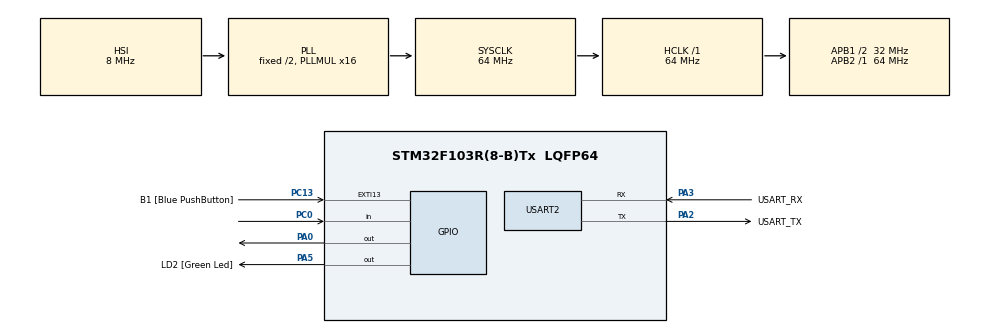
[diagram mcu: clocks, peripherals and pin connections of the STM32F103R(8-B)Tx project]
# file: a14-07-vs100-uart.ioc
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Mcu.Family=STM32F1
Mcu.Name=STM32F103R(8-B)Tx
Mcu.Package=LQFP64
NVIC.EXTI15_10_IRQn=true\:0\:0\:false\:false\:true\:true\:true
NVIC.PriorityGroup=NVIC_PRIORITYGROUP_4
NVIC.TIM2_IRQn=true\:0\:0\:false\:false\:true\:true\:true
PA0-WKUP.Signal=GPIO_Output
PA13.GPIO_Label=TMS
PA13.Mode=Serial_Wire
PA13.Signal=SYS_JTMS-SWDIO
PA14.GPIO_Label=TCK
PA14.Mode=Serial_Wire
PA14.Signal=SYS_JTCK-SWCLK
PA2.GPIO_Label=USART_TX
PA2.GPIO_Mode=GPIO_MODE_AF_PP
PA2.GPIO_PuPd=GPIO_NOPULL
PA2.GPIO_Speed=GPIO_SPEED_FREQ_LOW
PA2.Mode=Asynchronous
PA2.Signal=USART2_TX
PA3.GPIO_Label=USART_RX
PA3.GPIO_Mode=GPIO_MODE_AF_PP
PA3.GPIO_PuPd=GPIO_NOPULL
PA3.GPIO_Speed=GPIO_SPEED_FREQ_LOW
PA3.Mode=Asynchronous
PA3.Signal=USART2_RX
PA5.GPIO_Label=LD2 [Green Led]
PA5.GPIO_ModeDefaultOutputPP=GPIO_MODE_OUTPUT_PP
PA5.GPIO_PuPd=GPIO_NOPULL
PA5.GPIO_Speed=GPIO_SPEED_FREQ_LOW
PA5.Signal=GPIO_Output
PB3.GPIO_Label=SWO
PB3.Signal=SYS_JTDO-TRACESWO
PC0.Signal=GPIO_Input
PC13-TAMPER-RTC.GPIO_Label=B1 [Blue PushButton]
PC13-TAMPER-RTC.GPIO_PuPd=GPIO_NOPULL
PC13-TAMPER-RTC.Signal=GPXTI13
PC14-OSC32_IN.Mode=LSE-External-Oscillator
PC14-OSC32_IN.Signal=RCC_OSC32_IN
PC15-OSC32_OUT.Mode=LSE-External-Oscillator
PC15-OSC32_OUT.Signal=RCC_OSC32_OUT
PD0-OSC_IN.Mode=HSE-External-Clock-Source
PD0-OSC_IN.Signal=RCC_OSC_IN
PD1-OSC_OUT.Mode=HSE-External-Clock-Source
PD1-OSC_OUT.Signal=RCC_OSC_OUT
ProjectManager.HeapSize=0x200
ProjectManager.StackSize=0x400
ProjectManager.TargetToolchain=STM32CubeIDE
RCC.AHBFreq_Value=64000000
RCC.APB1CLKDivider=RCC_HCLK_DIV2
RCC.APB1Freq_Value=32000000
RCC.APB1TimFreq_Value=64000000
RCC.APB2Freq_Value=64000000
RCC.APB2TimFreq_Value=64000000
RCC.HCLKFreq_Value=64000000
RCC.PLLMUL=RCC_PLL_MUL16
RCC.RTCClockSelection=RCC_RTCCLKSOURCE_LSE
RCC.SYSCLKFreq_VALUE=64000000
RCC.SYSCLKSource=RCC_SYSCLKSOURCE_PLLCLK
RCC.USBFreq_Value=64000000
TIM2.Period=26-1
TIM2.Prescaler=64-1
USART2.VirtualMode=VM_ASYNC
VP_TIM2_VS_ClockSourceINT.Mode=Internal
board=NUCLEO-F103RB

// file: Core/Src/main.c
/* USER CODE BEGIN Header */
/**
  ******************************************************************************
  * @file           : main.c
  * @brief          : Main program body
  ******************************************************************************
  * @attention
  *
  * <h2><center>&copy; Copyright (c) 2022 STMicroelectronics.
  * All rights reserved.</center></h2>
  *
  * This software component is licensed by ST under BSD 3-Clause license,
  * the "License"; You may not use this file except in compliance with the
  * License. You may obtain a copy of the License at:
  *                        opensource.org/licenses/BSD-3-Clause
  *
  ******************************************************************************
  */
/* USER CODE END Header */
#include "main.h"

/* USER CODE BEGIN Includes */
#include "stdio.h"

/* USER CODE END Includes */

/* USER CODE BEGIN PD */
#ifdef __GNUC__
  /* With GCC/RAISONANCE, small printf (option LD Linker->Libraries->Small printf
     set to 'Yes') calls __io_putchar() */
  #define PUTCHAR_PROTOTYPE int __io_putchar(int ch)
#else
  #define PUTCHAR_PROTOTYPE int fputc(int ch, FILE *f)
#endif /* __GNUC__ */

//----- uart rx mode ------------------------------------------------------------------------------
typedef struct ts_rxType{
	char start;
	unsigned char data;
	char parity;
	char stop;
} rxType;
//----- uart rx mode ------------------------------------------------------------------------------

/* USER CODE END PD */

TIM_HandleTypeDef htim2;

UART_HandleTypeDef huart2;

/* USER CODE BEGIN PV */
//----- uart timer2 -------------------------------------------------------------------------------
int tim2_base_cnt;
//----- uart timer2 -------------------------------------------------------------------------------

uint8_t urx[16], utx[16];
uint16_t Distance;
uint16_t Temperature;

//----- uart tx mode ------------------------------------------------------------------------------
char Uart_Tx_Parity_Mode;
int txBit_cnt;
char Uart_Tx_flag;
char Uart_Tx_trigger;
char UartTxData[32];
//----- uart tx mode ------------------------------------------------------------------------------

//----- uart rx mode ------------------------------------------------------------------------------
char Uart_Rx_Parity_Mode;
rxType UartRxData[32];
int rxByte_cnt;
int rxBit_cnt;
int rxBit_value;
int rxSamp_cnt;
int rxParity_bit;
char Uart_Rx_flag;
char Uart_Rx_active;
char Uart_Rx_Temp;
char Uart_Rx_trigger;
char Uart_Rx_data;
char Uart_Rx_parity;
char Uart_Rx_stop;
//----- uart rx mode ------------------------------------------------------------------------------

/* USER CODE END PV */

void SystemClock_Config(void);
static void MX_GPIO_Init(void);
static void MX_USART2_UART_Init(void);
static void MX_TIM2_Init(void);

/* USER CODE BEGIN 0 */

PUTCHAR_PROTOTYPE
{
  /* Place your implementation of fputc here */
  /* e.g. write a character to the EVAL_COM1 and Loop until the end of transmission */
  HAL_UART_Transmit(&huart2, (uint8_t *)&ch, 1, 0xFFFF);

  return ch;
}

//----- timer callback ----------------------------------------------------------------------------
void HAL_TIM_PeriodElapsedCallback(TIM_HandleTypeDef *htim)
{
	if(htim->Instance == htim2.Instance){
		//HAL_GPIO_TogglePin(GPIOA, GPIO_PIN_8);
		if('y' == Uart_Tx_flag){
			tim2_base_cnt += 1;
			if((tim2_base_cnt % 4) == 0){
				txBit_cnt += 1;
				Uart_Tx_trigger = 'y';
				tim2_base_cnt = 0;
			}

		}
		if('y' == Uart_Rx_flag){
			if('n' == Uart_Rx_active){
				Uart_Rx_Temp <<= 1;
				if(GPIO_PIN_SET == HAL_GPIO_ReadPin(GPIOC, GPIO_PIN_0)){
					Uart_Rx_Temp += 1;
				}
				if((Uart_Rx_Temp & 0x0f) == 0x0c){
					Uart_Rx_active = 'y';
					Uart_Rx_Temp = 0x00;
					rxByte_cnt += 1;
					UartRxData[rxByte_cnt].start = 'y';
					UartRxData[rxByte_cnt].data = 0x00;
					UartRxData[rxByte_cnt].parity = 'n';
					UartRxData[rxByte_cnt].stop = 'x';
					rxBit_cnt = 0;
					rxSamp_cnt = 0;
					rxParity_bit = 0;
					Uart_Rx_trigger = 'n';
					Uart_Rx_data = 'n';
					Uart_Rx_parity = 'n';
					Uart_Rx_stop = 'n';
				}
			}else{
				Uart_Rx_trigger = 'n';
				rxSamp_cnt += 1;
				if((rxSamp_cnt % 4) == 0){
					Uart_Rx_trigger = 'y';
					if(GPIO_PIN_SET == HAL_GPIO_ReadPin(GPIOC, GPIO_PIN_0)){
						rxBit_value = 1;
					}else{
						rxBit_value = 0;
					}
					rxBit_cnt += 1;
					if((1 <= rxBit_cnt) && (rxBit_cnt <= 8)){
						Uart_Rx_data = 'y';
					}else if(9 == rxBit_cnt){
						Uart_Rx_data = 'n';
						if('n' == Uart_Rx_Parity_Mode){
							Uart_Rx_parity = 'n';
							Uart_Rx_stop = 'y';
						}else if('e' == Uart_Rx_Parity_Mode){
							Uart_Rx_parity = 'y';
						}else if('o' == Uart_Rx_Parity_Mode){
							Uart_Rx_parity = 'y';
						}
					}else if(10 == rxBit_cnt){
						Uart_Rx_parity = 'n';
						Uart_Rx_stop = 'y';
					}
				}
				if(('y' == Uart_Rx_trigger) && ('y' == Uart_Rx_data)){
					Uart_Rx_trigger = 'n';
					UartRxData[rxByte_cnt].data >>= 1;
					if(1 == rxBit_value){
						UartRxData[rxByte_cnt].data += 0x80;
						rxParity_bit += 1;
					}
				}
				if(('y' == Uart_Rx_trigger) && ('y' == Uart_Rx_parity)){
					Uart_Rx_trigger = 'n';
					if('e' == Uart_Rx_Parity_Mode){
						if(((rxParity_bit % 2) == 0) && (0 == rxBit_value)){
							UartRxData[rxByte_cnt].parity = 'e';
						}else if(((rxParity_bit % 2) == 1) && (1 == rxBit_value)){
							UartRxData[rxByte_cnt].parity = 'e';
						}else{
							UartRxData[rxByte_cnt].parity = 'f';
						}
					}else if('o' == Uart_Rx_Parity_Mode){
						if(((rxParity_bit % 2) == 0) && (1 == rxBit_value)){
							UartRxData[rxByte_cnt].parity = 'o';
						}else if(((rxParity_bit % 2) == 1) && (0 == rxBit_value)){
							UartRxData[rxByte_cnt].parity = 'o';
						}else{
							UartRxData[rxByte_cnt].parity = 'f';
						}
					}
				}
				if(('y' == Uart_Rx_trigger) && ('y' == Uart_Rx_stop)){
					Uart_Rx_trigger = 'n';
					Uart_Rx_active = 'n';
					if(1 == rxBit_value){
						UartRxData[rxByte_cnt].stop = 'y';
					}else{
						UartRxData[rxByte_cnt].stop = 'n';
					}
				}
			}
		}
	}
}
//----- timer callback ----------------------------------------------------------------------------

//----- uart tx mode ------------------------------------------------------------------------------
void Uart_Tx_Byte(char TxData, char Parity)
{
	char chExit = 'n';
	char chComp = 0x01;
	int ParityBit_cnt = 0;

	txBit_cnt = 0;
	Uart_Tx_flag = 'y';
	Uart_Tx_trigger = 'n';

	while(1){
		if(('y' == Uart_Tx_trigger) && (txBit_cnt == 1)){ // idle
			Uart_Tx_trigger = 'n';
			HAL_GPIO_WritePin(GPIOA, GPIO_PIN_0, GPIO_PIN_SET);
		}else if(('y' == Uart_Tx_trigger) && (txBit_cnt == 2)){ // start
			Uart_Tx_trigger = 'n';
			HAL_GPIO_WritePin(GPIOA, GPIO_PIN_0, GPIO_PIN_RESET);
		}else if(('y' == Uart_Tx_trigger) && ((txBit_cnt >= 3) && (txBit_cnt <= 10))){ // bit 0~7
			Uart_Tx_trigger = 'n';
			if((TxData & chComp) == chComp){
				HAL_GPIO_WritePin(GPIOA, GPIO_PIN_0, GPIO_PIN_SET);
				ParityBit_cnt += 1;
			}else{
				HAL_GPIO_WritePin(GPIOA, GPIO_PIN_0, GPIO_PIN_RESET);
			}
			chComp <<= 1;
		}else if(('y' == Uart_Tx_trigger) && (txBit_cnt == 11)){ // [parity : none/even/odd] or [stop]
			Uart_Tx_trigger = 'n';
			if('n' == Parity){	// stop
				HAL_GPIO_WritePin(GPIOA, GPIO_PIN_0, GPIO_PIN_SET);
				chExit = 'y';
			}else if('e' == Parity){
				if((ParityBit_cnt % 2) == 0){
					HAL_GPIO_WritePin(GPIOA, GPIO_PIN_0, GPIO_PIN_RESET);
				}else{
					HAL_GPIO_WritePin(GPIOA, GPIO_PIN_0, GPIO_PIN_SET);
				}
			}else if('o' == Parity){
				if((ParityBit_cnt % 2) == 0){
					HAL_GPIO_WritePin(GPIOA, GPIO_PIN_0, GPIO_PIN_SET);
				}else{
					HAL_GPIO_WritePin(GPIOA, GPIO_PIN_0, GPIO_PIN_RESET);
				}
			}
		}else if(('y' == Uart_Tx_trigger) && (txBit_cnt == 12)){ // stop
			Uart_Tx_trigger = 'n';
			HAL_GPIO_WritePin(GPIOA, GPIO_PIN_0, GPIO_PIN_SET);
			chExit = 'y';
		}
		if(('y' == Uart_Tx_trigger) && ('y' == chExit)){
			Uart_Tx_trigger = 'n';
			Uart_Tx_flag = 'n';
			break;
		}
	}
}

int Uart_Tx_multiByte(int Tx_cnt, char* TxData, char Parity)
{
	int m;

	for(m = 0; m < Tx_cnt; m++){
		Uart_Tx_Byte(TxData[m], Parity);
	}

	return(0);
}
//----- uart tx mode ------------------------------------------------------------------------------

/* USER CODE END 0 */

int main(void)
{
  /* USER CODE BEGIN 1 */

	HAL_StatusTypeDef uart2status;
	HAL_StatusTypeDef tim2_it_start;
	int m;

  /* USER CODE END 1 */

  /* MCU Configuration--------------------------------------------------------*/

  /* Reset of all peripherals, Initializes the Flash interface and the Systick. */
  HAL_Init();

  /* Configure the system clock */
  SystemClock_Config();

  /* Initialize all configured peripherals */
  MX_GPIO_Init();
  MX_USART2_UART_Init();
  MX_TIM2_Init();
  /* USER CODE BEGIN 2 */

  printf("---uc100 uart : gpio---\r\n");

  //----- timer2 -----------------------------------------------------------------------------------
  tim2_base_cnt = 0;
  HAL_GPIO_WritePin(GPIOA, GPIO_PIN_0, GPIO_PIN_SET);

  tim2_it_start = HAL_TIM_Base_Start_IT(&htim2);
  if(HAL_OK == tim2_it_start){
	  printf("HAL_TIM_Base_Start_IT OK\r\n");
  }else{
	  printf("HAL_TIM_Base_Start_IT error\r\n");
  }
  //----- timer2 -----------------------------------------------------------------------------------

  //----- uart tx mode ------------------------------------------------------------------------------
  Uart_Tx_Parity_Mode = 'n'; // 'n':none, 'e':even, 'o':odd
  txBit_cnt = 0;
  Uart_Tx_flag = 'n';
  Uart_Tx_trigger = 'n';

  UartTxData[0] = 'a';
  //----- uart tx mode ------------------------------------------------------------------------------

  //----- uart rx mode ------------------------------------------------------------------------------
  Uart_Rx_Parity_Mode = 'n'; // 'n':none, 'e':even, 'o':odd
  rxByte_cnt = 0;
  rxBit_cnt = 0;
  rxSamp_cnt = 0;
  Uart_Rx_flag = 'n';
  Uart_Rx_active = 'n';
  Uart_Rx_Temp = 0x00;

  //-----uart rx mode : start-----
  Uart_Rx_flag = 'y';
  Uart_Rx_active = 'n';
  //----- uart rx mode ------------------------------------------------------------------------------

  /* USER CODE END 2 */

  /* Infinite loop */
  while (1)
  {

    /* USER CODE BEGIN 3 */

	  HAL_Delay(1000);
	  HAL_GPIO_TogglePin(GPIOA, GPIO_PIN_5);

	  //----- distance -----
	  Uart_Tx_Byte(0x55, 'n');
	  //printf("Uart_Tx_Byte(Distance)\r\n");
	  HAL_Delay(100);
	  if(('n' == Uart_Rx_active) && (2 <= rxByte_cnt)){
		  for(m = 1; m <= rxByte_cnt; m++){
			  //printf("---rx:%c---data[%d]=0x%02x,parity=%c,stop=%c\r\n",Uart_Rx_Parity_Mode,m,UartRxData[m].data,UartRxData[m].parity,UartRxData[m].stop);
		  }
		  if(2 == rxByte_cnt){
			  Distance = (UartRxData[1].data << 8) + UartRxData[2].data;
			  printf("---UC-100 : Distance = %d---\r\n",Distance);
		  }
		  rxByte_cnt = 0;
	  }else{
		  printf("--Uart_Rx_Byte error(distance)\r\n");
	  }
	  //----- distance -----

	  HAL_Delay(1000);
	  HAL_GPIO_TogglePin(GPIOA, GPIO_PIN_5);

	  //----- temperature -----
	  Uart_Tx_Byte(0x50, 'n');
	  //printf("Uart_Tx_Byte(temperature)\r\n");
	  HAL_Delay(100);
	  if(('n' == Uart_Rx_active) && (1 <= rxByte_cnt)){
		  for(m = 1; m <= rxByte_cnt; m++){
			 // printf("---rx:%c---data[%d]=0x%02x,parity=%c,stop=%c\r\n",Uart_Rx_Parity_Mode,m,UartRxData[m].data,UartRxData[m].parity,UartRxData[m].stop);
		  }
		  if(1 == rxByte_cnt){
			  Temperature = UartRxData[1].data - 45;
			  printf("---UC-100 : Temperature = %d---\r\n",Temperature);
		  }
		  rxByte_cnt = 0;
	  }else{
		  printf("--Uart_Rx_Byte error(temperature)\r\n");
	  }
	  //----- temperature -----

	  printf("---\r\n");

  }
  /* USER CODE END 3 */
}

void SystemClock_Config(void)
{
  RCC_OscInitTypeDef RCC_OscInitStruct = {0};
  RCC_ClkInitTypeDef RCC_ClkInitStruct = {0};

  /** Initializes the CPU, AHB and APB busses clocks
  */
  RCC_OscInitStruct.OscillatorType = RCC_OSCILLATORTYPE_HSI;
  RCC_OscInitStruct.HSIState = RCC_HSI_ON;
  RCC_OscInitStruct.HSICalibrationValue = RCC_HSICALIBRATION_DEFAULT;
  RCC_OscInitStruct.PLL.PLLState = RCC_PLL_ON;
  RCC_OscInitStruct.PLL.PLLSource = RCC_PLLSOURCE_HSI_DIV2;
  RCC_OscInitStruct.PLL.PLLMUL = RCC_PLL_MUL16;
  if (HAL_RCC_OscConfig(&RCC_OscInitStruct) != HAL_OK)
  {
    Error_Handler();
  }
  /** Initializes the CPU, AHB and APB busses clocks
  */
  RCC_ClkInitStruct.ClockType = RCC_CLOCKTYPE_HCLK|RCC_CLOCKTYPE_SYSCLK
                              |RCC_CLOCKTYPE_PCLK1|RCC_CLOCKTYPE_PCLK2;
  RCC_ClkInitStruct.SYSCLKSource = RCC_SYSCLKSOURCE_PLLCLK;
  RCC_ClkInitStruct.AHBCLKDivider = RCC_SYSCLK_DIV1;
  RCC_ClkInitStruct.APB1CLKDivider = RCC_HCLK_DIV2;
  RCC_ClkInitStruct.APB2CLKDivider = RCC_HCLK_DIV1;

  if (HAL_RCC_ClockConfig(&RCC_ClkInitStruct, FLASH_LATENCY_2) != HAL_OK)
  {
    Error_Handler();
  }
}

static void MX_TIM2_Init(void)
{

  TIM_ClockConfigTypeDef sClockSourceConfig = {0};
  TIM_MasterConfigTypeDef sMasterConfig = {0};

  htim2.Instance = TIM2;
  htim2.Init.Prescaler = 64-1;
  htim2.Init.CounterMode = TIM_COUNTERMODE_UP;
  htim2.Init.Period = 26-1;
  htim2.Init.ClockDivision = TIM_CLOCKDIVISION_DIV1;
  htim2.Init.AutoReloadPreload = TIM_AUTORELOAD_PRELOAD_DISABLE;
  if (HAL_TIM_Base_Init(&htim2) != HAL_OK)
  {
    Error_Handler();
  }
  sClockSourceConfig.ClockSource = TIM_CLOCKSOURCE_INTERNAL;
  if (HAL_TIM_ConfigClockSource(&htim2, &sClockSourceConfig) != HAL_OK)
  {
    Error_Handler();
  }
  sMasterConfig.MasterOutputTrigger = TIM_TRGO_RESET;
  sMasterConfig.MasterSlaveMode = TIM_MASTERSLAVEMODE_DISABLE;
  if (HAL_TIMEx_MasterConfigSynchronization(&htim2, &sMasterConfig) != HAL_OK)
  {
    Error_Handler();
  }

}

static void MX_USART2_UART_Init(void)
{

  huart2.Instance = USART2;
  huart2.Init.BaudRate = 115200;
  huart2.Init.WordLength = UART_WORDLENGTH_8B;
  huart2.Init.StopBits = UART_STOPBITS_1;
  huart2.Init.Parity = UART_PARITY_NONE;
  huart2.Init.Mode = UART_MODE_TX_RX;
  huart2.Init.HwFlowCtl = UART_HWCONTROL_NONE;
  huart2.Init.OverSampling = UART_OVERSAMPLING_16;
  if (HAL_UART_Init(&huart2) != HAL_OK)
  {
    Error_Handler();
  }

}

static void MX_GPIO_Init(void)
{
  GPIO_InitTypeDef GPIO_InitStruct = {0};

  /* GPIO Ports Clock Enable */
  __HAL_RCC_GPIOC_CLK_ENABLE();
  __HAL_RCC_GPIOD_CLK_ENABLE();
  __HAL_RCC_GPIOA_CLK_ENABLE();
  __HAL_RCC_GPIOB_CLK_ENABLE();

  /*Configure GPIO pin Output Level */
  HAL_GPIO_WritePin(GPIOA, GPIO_PIN_0|LD2_Pin, GPIO_PIN_RESET);

  /*Configure GPIO pin : B1_Pin */
  GPIO_InitStruct.Pin = B1_Pin;
  GPIO_InitStruct.Mode = GPIO_MODE_IT_RISING;
  GPIO_InitStruct.Pull = GPIO_NOPULL;
  HAL_GPIO_Init(B1_GPIO_Port, &GPIO_InitStruct);

  /*Configure GPIO pin : PC0 */
  GPIO_InitStruct.Pin = GPIO_PIN_0;
  GPIO_InitStruct.Mode = GPIO_MODE_INPUT;
  GPIO_InitStruct.Pull = GPIO_NOPULL;
  HAL_GPIO_Init(GPIOC, &GPIO_InitStruct);

  /*Configure GPIO pins : PA0 LD2_Pin */
  GPIO_InitStruct.Pin = GPIO_PIN_0|LD2_Pin;
  GPIO_InitStruct.Mode = GPIO_MODE_OUTPUT_PP;
  GPIO_InitStruct.Pull = GPIO_NOPULL;
  GPIO_InitStruct.Speed = GPIO_SPEED_FREQ_LOW;
  HAL_GPIO_Init(GPIOA, &GPIO_InitStruct);

  /* EXTI interrupt init*/
  HAL_NVIC_SetPriority(EXTI15_10_IRQn, 0, 0);
  HAL_NVIC_EnableIRQ(EXTI15_10_IRQn);

}

void Error_Handler(void)
{
}

/************************ (C) COPYRIGHT STMicroelectronics *****END OF FILE****/
